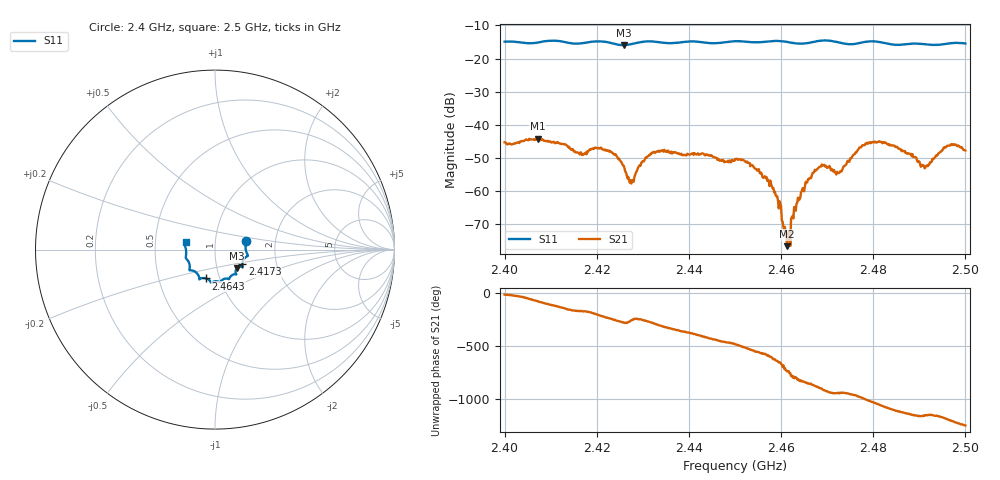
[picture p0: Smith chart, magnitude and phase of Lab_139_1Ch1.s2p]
# Hz S RI R 50
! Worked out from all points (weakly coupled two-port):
!   601 points, 2.4 GHz to 2.5 GHz, reference 50 ohm
!   highest |S21| = -44.09 dB at 2.4072 GHz (marker M1); lowest = -76.6 dB at 2.4613 GHz (marker M2)
!   lowest |S11| = -15.9 dB at 2.4258 GHz (marker M3), VSWR 1.38, Z = 62.3 - j13.2 ohm
!   |S11| at or under -10 dB: start of sweep to end of sweep
!   S12 and S22 are empty: the file has one direction only
!   S11 on the Smith chart (normalised r, x): 2.4 GHz: 1.41, +0.14; 2.4173 GHz: 1.34, -0.23; 2.4643 GHz: 0.86, -0.28; 2.5 GHz: 0.72, +0.06
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2.4e9  0.1734 0.0494  0.00519 -0.00178  0 0  0 0
2.407167e9  0.1745 -0.0121  0.000902 -0.00618  0 0  0 0
2.416667e9  0.153 -0.0747  -0.0037 -0.000374  0 0  0 0
2.417333e9  0.1522 -0.0821  -0.00367 -0.000281  0 0  0 0
2.422667e9  0.1477 -0.094  -0.00192 0.00348  0 0  0 0
2.425833e9  0.1217 -0.1036  0.000514 0.00239  0 0  0 0
2.427667e9  0.115 -0.1205  -0.000321 0.00142  0 0  0 0
2.430167e9  0.1177 -0.1368  -0.000439 0.00279  0 0  0 0
2.433333e9  0.113 -0.1369  0.00232 0.0032  0 0  0 0
2.45e9  0.0293 -0.1806  -0.00178 -0.0025  0 0  0 0
2.457333e9  -0.0153 -0.1815  -0.00082 0.00115  0 0  0 0
2.4595e9  -0.0225 -0.1836  0.000245 0.000493  0 0  0 0
2.461333e9  -0.0271 -0.1765  0.000138 -5.62e-05  0 0  0 0
2.464333e9  -0.0499 -0.1607  -0.000298 -0.000916  0 0  0 0
2.466667e9  -0.076 -0.1595  -0.00145 -0.000954  0 0  0 0
2.469167e9  -0.0876 -0.1662  -0.00238 0.000686  0 0  0 0
2.472833e9  -0.0903 -0.1486  -0.0015 0.00133  0 0  0 0
2.478833e9  -0.1397 -0.1154  0.002 0.00482  0 0  0 0
2.483333e9  -0.1408 -0.09  0.00512 -0.000707  0 0  0 0
2.490833e9  -0.162 -0.0356  0.000415 -0.00239  0 0  0 0
2.4965e9  -0.1684 0.0229  -0.00226 -0.00432  0 0  0 0
2.5e9  -0.1638 0.0418  -0.00405 -0.00076  0 0  0 0
